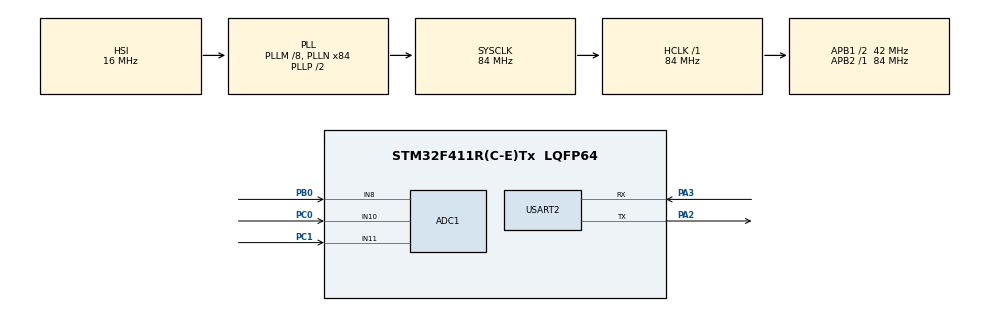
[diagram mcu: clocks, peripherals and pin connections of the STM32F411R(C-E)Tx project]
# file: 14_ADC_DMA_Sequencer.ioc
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ADC1.Channel-0\#ChannelRegularConversion=ADC_CHANNEL_8
ADC1.Channel-1\#ChannelRegularConversion=ADC_CHANNEL_11
ADC1.Channel-2\#ChannelRegularConversion=ADC_CHANNEL_10
ADC1.ContinuousConvMode=ENABLE
ADC1.DMAContinuousRequests=ENABLE
ADC1.NbrOfConversion=3
ADC1.NbrOfConversionFlag=1
ADC1.Rank-0\#ChannelRegularConversion=1
ADC1.Rank-1\#ChannelRegularConversion=2
ADC1.Rank-2\#ChannelRegularConversion=3
ADC1.SamplingTime-0\#ChannelRegularConversion=ADC_SAMPLETIME_15CYCLES
ADC1.SamplingTime-1\#ChannelRegularConversion=ADC_SAMPLETIME_15CYCLES
ADC1.SamplingTime-2\#ChannelRegularConversion=ADC_SAMPLETIME_15CYCLES
ADC1.master=1
Dma.ADC1.0.Direction=DMA_PERIPH_TO_MEMORY
Dma.ADC1.0.FIFOMode=DMA_FIFOMODE_DISABLE
Dma.ADC1.0.Instance=DMA2_Stream0
Dma.ADC1.0.MemDataAlignment=DMA_MDATAALIGN_HALFWORD
Dma.ADC1.0.MemInc=DMA_MINC_ENABLE
Dma.ADC1.0.Mode=DMA_CIRCULAR
Dma.ADC1.0.PeriphDataAlignment=DMA_PDATAALIGN_HALFWORD
Dma.ADC1.0.PeriphInc=DMA_PINC_DISABLE
Dma.ADC1.0.Priority=DMA_PRIORITY_LOW
Dma.Request0=ADC1
Mcu.Family=STM32F4
Mcu.Name=STM32F411R(C-E)Tx
Mcu.Package=LQFP64
NVIC.DMA2_Stream0_IRQn=true\:0\:0\:false\:false\:true\:false\:true\:true
NVIC.PriorityGroup=NVIC_PRIORITYGROUP_4
PA13.Mode=Serial_Wire
PA13.Signal=SYS_JTMS-SWDIO
PA14.Mode=Serial_Wire
PA14.Signal=SYS_JTCK-SWCLK
PA2.Mode=Asynchronous
PA2.Signal=USART2_TX
PA3.Mode=Asynchronous
PA3.Signal=USART2_RX
PB0.Signal=ADCx_IN8
PC0.Signal=ADCx_IN10
PC1.Signal=ADCx_IN11
ProjectManager.HeapSize=0x200
ProjectManager.StackSize=0x400
ProjectManager.TargetToolchain=STM32CubeIDE
RCC.48MHZClocksFreq_Value=42000000
RCC.AHBFreq_Value=84000000
RCC.APB1CLKDivider=RCC_HCLK_DIV2
RCC.APB1Freq_Value=42000000
RCC.APB1TimFreq_Value=84000000
RCC.APB2Freq_Value=84000000
RCC.APB2TimFreq_Value=84000000
RCC.CortexFreq_Value=84000000
RCC.HCLKFreq_Value=84000000
RCC.HSE_VALUE=25000000
RCC.HSI_VALUE=16000000
RCC.LSE_VALUE=32768
RCC.PLLM=8
RCC.PLLN=84
RCC.SYSCLKFreq_VALUE=84000000
RCC.SYSCLKSource=RCC_SYSCLKSOURCE_PLLCLK
RCC.VCOOutputFreq_Value=168000000
SH.ADCx_IN10.0=ADC1_IN10,IN10
SH.ADCx_IN11.0=ADC1_IN11,IN11
SH.ADCx_IN8.0=ADC1_IN8,IN8
USART2.VirtualMode=VM_ASYNC
board=custom

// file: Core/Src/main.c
/* USER CODE BEGIN Header */
/**
  ******************************************************************************
  * @file           : main.c
  * @brief          : Main program body
  ******************************************************************************
  * @attention
  *
  * Copyright (c) 2024 STMicroelectronics.
  * All rights reserved.
  *
  * This software is licensed under terms that can be found in the LICENSE file
  * in the root directory of this software component.
  * If no LICENSE file comes with this software, it is provided AS-IS.
  *
  ******************************************************************************
  */
/* USER CODE END Header */
#include "main.h"

ADC_HandleTypeDef hadc1;
DMA_HandleTypeDef hdma_adc1;

UART_HandleTypeDef huart2;

/* USER CODE BEGIN PV */
volatile uint16_t uwADCxConvertedValue[3];
/* USER CODE END PV */

void SystemClock_Config(void);
static void MX_GPIO_Init(void);
static void MX_DMA_Init(void);
static void MX_ADC1_Init(void);
static void MX_USART2_UART_Init(void);
/* USER CODE BEGIN PFP */
#ifdef __GNUC__
#define PUTCHAR_PROTOTYPE int __io_putchar(int ch)
#else
#define PUTCHAR_PROTOTYPE int fputc(int ch, FILE *f)
#endif /* __GNUC__ */

/**
  * @brief  Retargets the C library printf function to the USART.
  * @param  None
  * @retval None
  */
PUTCHAR_PROTOTYPE
{
  /* Place your implementation of fputc here */
  /* e.g. write a character to the UART2 and Loop until the end of transmission */
  if (ch == '\n')
    HAL_UART_Transmit (&huart2, (uint8_t*) "\r", 1, 0xFFFF);
  HAL_UART_Transmit (&huart2, (uint8_t*) &ch, 1, 0xFFFF);

  return ch;
}
/* USER CODE END PFP */

int main(void)
{

  /* MCU Configuration--------------------------------------------------------*/

  /* Reset of all peripherals, Initializes the Flash interface and the Systick. */
  HAL_Init();

  /* Configure the system clock */
  SystemClock_Config();

  /* Initialize all configured peripherals */
  MX_GPIO_Init();
  MX_DMA_Init();
  MX_ADC1_Init();
  MX_USART2_UART_Init();

  /* Infinite loop */
  /* USER CODE BEGIN WHILE */
  if (HAL_ADC_Start_DMA(&hadc1, (uint32_t)&uwADCxConvertedValue, 3) != HAL_OK)
  {
	  Error_Handler();
  }

  while (1)
  {
	  printf ("X=%4d, Y=%4d, Z=%4d\n", uwADCxConvertedValue[0],
	          uwADCxConvertedValue[1], uwADCxConvertedValue[2]);
	  HAL_Delay (100);

    /* USER CODE END WHILE */

  }
}

void SystemClock_Config(void)
{
  RCC_OscInitTypeDef RCC_OscInitStruct = {0};
  RCC_ClkInitTypeDef RCC_ClkInitStruct = {0};

  /** Configure the main internal regulator output voltage
  */
  __HAL_RCC_PWR_CLK_ENABLE();
  __HAL_PWR_VOLTAGESCALING_CONFIG(PWR_REGULATOR_VOLTAGE_SCALE1);

  /** Initializes the RCC Oscillators according to the specified parameters
  * in the RCC_OscInitTypeDef structure.
  */
  RCC_OscInitStruct.OscillatorType = RCC_OSCILLATORTYPE_HSI;
  RCC_OscInitStruct.HSIState = RCC_HSI_ON;
  RCC_OscInitStruct.HSICalibrationValue = RCC_HSICALIBRATION_DEFAULT;
  RCC_OscInitStruct.PLL.PLLState = RCC_PLL_ON;
  RCC_OscInitStruct.PLL.PLLSource = RCC_PLLSOURCE_HSI;
  RCC_OscInitStruct.PLL.PLLM = 8;
  RCC_OscInitStruct.PLL.PLLN = 84;
  RCC_OscInitStruct.PLL.PLLP = RCC_PLLP_DIV2;
  RCC_OscInitStruct.PLL.PLLQ = 4;
  if (HAL_RCC_OscConfig(&RCC_OscInitStruct) != HAL_OK)
  {
    Error_Handler();
  }

  /** Initializes the CPU, AHB and APB buses clocks
  */
  RCC_ClkInitStruct.ClockType = RCC_CLOCKTYPE_HCLK|RCC_CLOCKTYPE_SYSCLK
                              |RCC_CLOCKTYPE_PCLK1|RCC_CLOCKTYPE_PCLK2;
  RCC_ClkInitStruct.SYSCLKSource = RCC_SYSCLKSOURCE_PLLCLK;
  RCC_ClkInitStruct.AHBCLKDivider = RCC_SYSCLK_DIV1;
  RCC_ClkInitStruct.APB1CLKDivider = RCC_HCLK_DIV2;
  RCC_ClkInitStruct.APB2CLKDivider = RCC_HCLK_DIV1;

  if (HAL_RCC_ClockConfig(&RCC_ClkInitStruct, FLASH_LATENCY_2) != HAL_OK)
  {
    Error_Handler();
  }
}

static void MX_ADC1_Init(void)
{

  ADC_ChannelConfTypeDef sConfig = {0};

  /** Configure the global features of the ADC (Clock, Resolution, Data Alignment and number of conversion)
  */
  hadc1.Instance = ADC1;
  hadc1.Init.ClockPrescaler = ADC_CLOCK_SYNC_PCLK_DIV4;
  hadc1.Init.Resolution = ADC_RESOLUTION_12B;
  hadc1.Init.ScanConvMode = ENABLE;
  hadc1.Init.ContinuousConvMode = ENABLE;
  hadc1.Init.DiscontinuousConvMode = DISABLE;
  hadc1.Init.ExternalTrigConvEdge = ADC_EXTERNALTRIGCONVEDGE_NONE;
  hadc1.Init.ExternalTrigConv = ADC_SOFTWARE_START;
  hadc1.Init.DataAlign = ADC_DATAALIGN_RIGHT;
  hadc1.Init.NbrOfConversion = 3;
  hadc1.Init.DMAContinuousRequests = ENABLE;
  hadc1.Init.EOCSelection = ADC_EOC_SINGLE_CONV;
  if (HAL_ADC_Init(&hadc1) != HAL_OK)
  {
    Error_Handler();
  }

  /** Configure for the selected ADC regular channel its corresponding rank in the sequencer and its sample time.
  */
  sConfig.Channel = ADC_CHANNEL_8;
  sConfig.Rank = 1;
  sConfig.SamplingTime = ADC_SAMPLETIME_15CYCLES;
  if (HAL_ADC_ConfigChannel(&hadc1, &sConfig) != HAL_OK)
  {
    Error_Handler();
  }

  /** Configure for the selected ADC regular channel its corresponding rank in the sequencer and its sample time.
  */
  sConfig.Channel = ADC_CHANNEL_11;
  sConfig.Rank = 2;
  if (HAL_ADC_ConfigChannel(&hadc1, &sConfig) != HAL_OK)
  {
    Error_Handler();
  }

  /** Configure for the selected ADC regular channel its corresponding rank in the sequencer and its sample time.
  */
  sConfig.Channel = ADC_CHANNEL_10;
  sConfig.Rank = 3;
  if (HAL_ADC_ConfigChannel(&hadc1, &sConfig) != HAL_OK)
  {
    Error_Handler();
  }

}

static void MX_USART2_UART_Init(void)
{

  huart2.Instance = USART2;
  huart2.Init.BaudRate = 115200;
  huart2.Init.WordLength = UART_WORDLENGTH_8B;
  huart2.Init.StopBits = UART_STOPBITS_1;
  huart2.Init.Parity = UART_PARITY_NONE;
  huart2.Init.Mode = UART_MODE_TX_RX;
  huart2.Init.HwFlowCtl = UART_HWCONTROL_NONE;
  huart2.Init.OverSampling = UART_OVERSAMPLING_16;
  if (HAL_UART_Init(&huart2) != HAL_OK)
  {
    Error_Handler();
  }

}

static void MX_DMA_Init(void)
{

  /* DMA controller clock enable */
  __HAL_RCC_DMA2_CLK_ENABLE();

  /* DMA interrupt init */
  /* DMA2_Stream0_IRQn interrupt configuration */
  HAL_NVIC_SetPriority(DMA2_Stream0_IRQn, 0, 0);
  HAL_NVIC_EnableIRQ(DMA2_Stream0_IRQn);

}

static void MX_GPIO_Init(void)
{

  /* GPIO Ports Clock Enable */
  __HAL_RCC_GPIOC_CLK_ENABLE();
  __HAL_RCC_GPIOA_CLK_ENABLE();
  __HAL_RCC_GPIOB_CLK_ENABLE();

}

void Error_Handler(void)
{
  __disable_irq();
  while (1)
  {
  }
}
